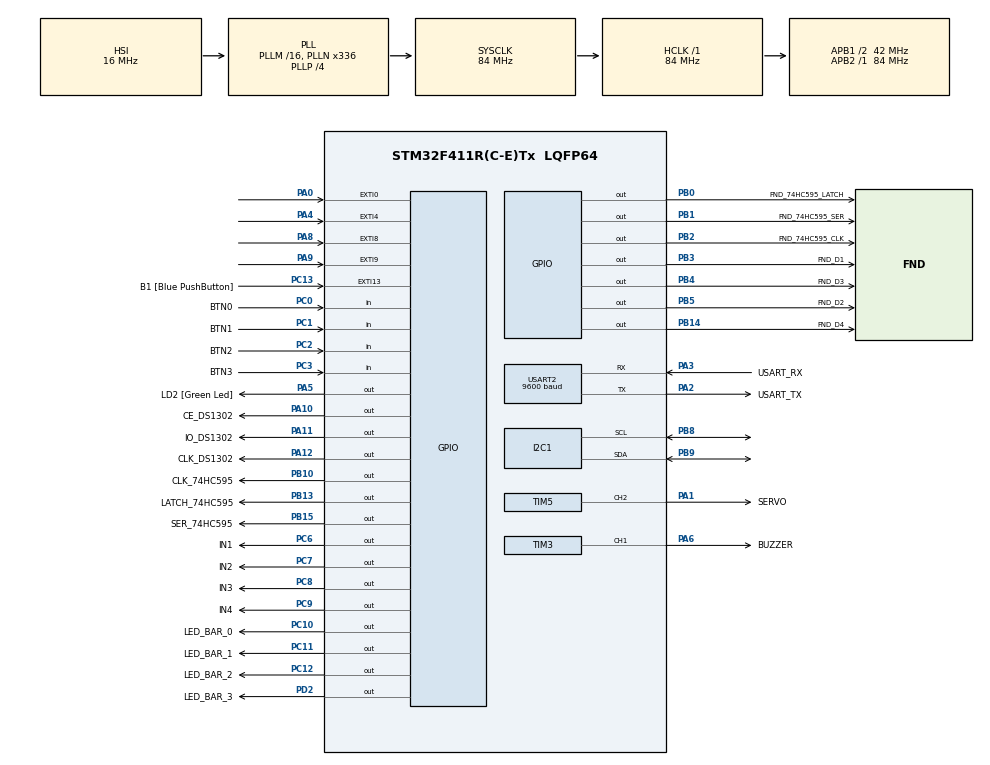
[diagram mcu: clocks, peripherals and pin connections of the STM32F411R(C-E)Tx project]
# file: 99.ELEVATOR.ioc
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FREERTOS.Mutexes01=myMutex01,Dynamic,NULL
FREERTOS.Tasks01=defaultTask,24,128,StartDefaultTask,Default,NULL,Dynamic,NULL,NULL;myTask02,8,128,StartTask02,Default,NULL,Dynamic,NULL,NULL;myTask03,8,128,StartTask03,Default,NULL,Dynamic,NULL,NULL;myTask04,8,128,StartTask04,Default,NULL,Dynamic,NULL,NULL
FREERTOS.configUSE_NEWLIB_REENTRANT=1
Mcu.Family=STM32F4
Mcu.Name=STM32F411R(C-E)Tx
Mcu.Package=LQFP64
NVIC.EXTI0_IRQn=true\:5\:0\:false\:false\:true\:true\:true\:true
NVIC.EXTI4_IRQn=true\:5\:0\:false\:false\:true\:true\:true\:true
NVIC.EXTI9_5_IRQn=true\:5\:0\:false\:false\:true\:true\:true\:true
NVIC.PriorityGroup=NVIC_PRIORITYGROUP_4
NVIC.TIM1_TRG_COM_TIM11_IRQn=true\:5\:0\:false\:false\:true\:true\:true\:true
NVIC.TIM1_UP_TIM10_IRQn=true\:15\:0\:false\:false\:true\:false\:false\:true
NVIC.TIM3_IRQn=true\:5\:0\:false\:false\:true\:true\:true\:true
NVIC.TIM5_IRQn=true\:5\:0\:false\:false\:true\:true\:true\:true
NVIC.TimeBase=TIM1_UP_TIM10_IRQn
NVIC.TimeBaseIP=TIM10
NVIC.USART2_IRQn=true\:5\:0\:false\:false\:true\:true\:true\:true
PA0-WKUP.Signal=GPXTI0
PA1.GPIO_Label=SERVO
PA1.Signal=S_TIM5_CH2
PA10.GPIO_Label=CE_DS1302
PA10.Signal=GPIO_Output
PA11.GPIO_Label=IO_DS1302
PA11.Signal=GPIO_Output
PA12.GPIO_Label=CLK_DS1302
PA12.Signal=GPIO_Output
PA13.GPIO_Label=TMS
PA13.Mode=Serial_Wire
PA13.Signal=SYS_JTMS-SWDIO
PA14.GPIO_Label=TCK
PA14.Mode=Serial_Wire
PA14.Signal=SYS_JTCK-SWCLK
PA2.GPIO_Label=USART_TX
PA2.Mode=Asynchronous
PA2.Signal=USART2_TX
PA3.GPIO_Label=USART_RX
PA3.Mode=Asynchronous
PA3.Signal=USART2_RX
PA4.Signal=GPXTI4
PA5.GPIO_Label=LD2 [Green Led]
PA5.Signal=GPIO_Output
PA6.GPIO_Label=BUZZER
PA6.Signal=S_TIM3_CH1
PA8.Signal=GPXTI8
PA9.Signal=GPXTI9
PB0.GPIO_Label=FND_74HC595_LATCH
PB0.Signal=GPIO_Output
PB1.GPIO_Label=FND_74HC595_SER
PB1.Signal=GPIO_Output
PB10.GPIO_Label=CLK_74HC595
PB10.Signal=GPIO_Output
PB13.GPIO_Label=LATCH_74HC595
PB13.Signal=GPIO_Output
PB14.GPIO_Label=FND_D4
PB14.Signal=GPIO_Output
PB15.GPIO_Label=SER_74HC595
PB15.Signal=GPIO_Output
PB2.GPIO_Label=FND_74HC595_CLK
PB2.Signal=GPIO_Output
PB3.GPIO_Label=FND_D1
PB3.Signal=GPIO_Output
PB4.GPIO_Label=FND_D3
PB4.Signal=GPIO_Output
PB5.GPIO_Label=FND_D2
PB5.Signal=GPIO_Output
PB8.Mode=I2C
PB8.Signal=I2C1_SCL
PB9.Mode=I2C
PB9.Signal=I2C1_SDA
PC0.GPIO_Label=BTN0
PC0.Signal=GPIO_Input
PC1.GPIO_Label=BTN1
PC1.Signal=GPIO_Input
PC10.GPIO_Label=LED_BAR_0
PC10.Signal=GPIO_Output
PC11.GPIO_Label=LED_BAR_1
PC11.Signal=GPIO_Output
PC12.GPIO_Label=LED_BAR_2
PC12.Signal=GPIO_Output
PC13-ANTI_TAMP.GPIO_Label=B1 [Blue PushButton]
PC13-ANTI_TAMP.GPIO_ModeDefaultEXTI=GPIO_MODE_IT_FALLING
PC13-ANTI_TAMP.Signal=GPXTI13
PC14-OSC32_IN.Mode=LSE-External-Oscillator
PC14-OSC32_IN.Signal=RCC_OSC32_IN
PC15-OSC32_OUT.Mode=LSE-External-Oscillator
PC15-OSC32_OUT.Signal=RCC_OSC32_OUT
PC2.GPIO_Label=BTN2
PC2.Signal=GPIO_Input
PC3.GPIO_Label=BTN3
PC3.Signal=GPIO_Input
PC6.GPIO_Label=IN1
PC6.Signal=GPIO_Output
PC7.GPIO_Label=IN2
PC7.Signal=GPIO_Output
PC8.GPIO_Label=IN3
PC8.Signal=GPIO_Output
PC9.GPIO_Label=IN4
PC9.Signal=GPIO_Output
PD2.GPIO_Label=LED_BAR_3
PD2.Signal=GPIO_Output
PH0\ -\ OSC_IN.Mode=HSE-External-Clock-Source
PH0\ -\ OSC_IN.Signal=RCC_OSC_IN
PH1\ -\ OSC_OUT.Mode=HSE-External-Clock-Source
PH1\ -\ OSC_OUT.Signal=RCC_OSC_OUT
ProjectManager.HeapSize=0x200
ProjectManager.StackSize=0x400
ProjectManager.TargetToolchain=STM32CubeIDE
RCC.48MHZClocksFreq_Value=84000000
RCC.AHBFreq_Value=84000000
RCC.APB1CLKDivider=RCC_HCLK_DIV2
RCC.APB1Freq_Value=42000000
RCC.APB1TimFreq_Value=84000000
RCC.APB2Freq_Value=84000000
RCC.APB2TimFreq_Value=84000000
RCC.CortexFreq_Value=84000000
RCC.FLatency-AdvancedSettings=FLASH_LATENCY_2
RCC.HCLKFreq_Value=84000000
RCC.HSE_VALUE=8000000
RCC.HSI_VALUE=16000000
RCC.PLLN=336
RCC.PLLP=RCC_PLLP_DIV4
RCC.SYSCLKFreq_VALUE=84000000
RCC.SYSCLKSource=RCC_SYSCLKSOURCE_PLLCLK
RCC.VCOOutputFreq_Value=336000000
SH.S_TIM3_CH1.0=TIM3_CH1,PWM Generation1 CH1
SH.S_TIM5_CH2.0=TIM5_CH2,PWM Generation2 CH2
TIM11.Period=1000-1
TIM11.Prescaler=84-1
TIM2.Prescaler=84-1
TIM3.Channel-PWM\ Generation1\ CH1=TIM_CHANNEL_1
TIM3.Period=400-1
TIM3.Prescaler=52.5-1
TIM3.Pulse-PWM\ Generation1\ CH1=200-1
TIM5.Channel-PWM\ Generation2\ CH2=TIM_CHANNEL_2
TIM5.Period=1000-1
TIM5.Prescaler=1680-1
USART2.BaudRate=9600
USART2.VirtualMode=VM_ASYNC
VP_FREERTOS_VS_CMSIS_V2.Mode=CMSIS_V2
VP_SYS_VS_tim10.Mode=TIM10
VP_TIM11_VS_ClockSourceINT.Mode=Enable_Timer
VP_TIM2_VS_ClockSourceINT.Mode=Internal
VP_TIM3_VS_ClockSourceINT.Mode=Internal
VP_TIM5_VS_ClockSourceINT.Mode=Internal
board=NUCLEO-F411RE

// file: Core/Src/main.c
/* USER CODE BEGIN Header */
/**
  ******************************************************************************
  * @file           : main.c
  * @brief          : Main program body
  ******************************************************************************
  * @attention
  *
  * <h2><center>&copy; Copyright (c) 2025 STMicroelectronics.
  * All rights reserved.</center></h2>
  *
  * This software component is licensed by ST under BSD 3-Clause license,
  * the "License"; You may not use this file except in compliance with the
  * License. You may obtain a copy of the License at:
  *                        opensource.org/licenses/BSD-3-Clause
  *
  ******************************************************************************
  */
/* USER CODE END Header */
#include "main.h"
#include "cmsis_os.h"

/* USER CODE BEGIN Includes */
#include "extern.h"
/* USER CODE END Includes */

I2C_HandleTypeDef hi2c1;

TIM_HandleTypeDef htim2;
TIM_HandleTypeDef htim3;
TIM_HandleTypeDef htim5;
TIM_HandleTypeDef htim11;

UART_HandleTypeDef huart2;

/* Definitions for defaultTask */
osThreadId_t defaultTaskHandle;
const osThreadAttr_t defaultTask_attributes = {
  .name = "defaultTask",
  .stack_size = 128 * 4,
  .priority = (osPriority_t) osPriorityNormal,
};
/* Definitions for myTask02 */
osThreadId_t myTask02Handle;
const osThreadAttr_t myTask02_attributes = {
  .name = "myTask02",
  .stack_size = 128 * 4,
  .priority = (osPriority_t) osPriorityLow,
};
/* Definitions for myTask03 */
osThreadId_t myTask03Handle;
const osThreadAttr_t myTask03_attributes = {
  .name = "myTask03",
  .stack_size = 128 * 4,
  .priority = (osPriority_t) osPriorityLow,
};
/* Definitions for myTask04 */
osThreadId_t myTask04Handle;
const osThreadAttr_t myTask04_attributes = {
  .name = "myTask04",
  .stack_size = 128 * 4,
  .priority = (osPriority_t) osPriorityLow,
};
/* Definitions for myMutex01 */
osMutexId_t myMutex01Handle;
const osMutexAttr_t myMutex01_attributes = {
  .name = "myMutex01"
};
/* USER CODE BEGIN PV */
uint8_t rx_data;   // uart2 rx byte
volatile int TIM11_1ms_counter = 0;
volatile int FND_update_counter = 0;
volatile int Buzzer_counter = 0;
volatile int Button_counter = 0;
/* USER CODE END PV */

void SystemClock_Config(void);
static void MX_GPIO_Init(void);
static void MX_USART2_UART_Init(void);
static void MX_TIM11_Init(void);
static void MX_TIM2_Init(void);
static void MX_I2C1_Init(void);
static void MX_TIM3_Init(void);
static void MX_TIM5_Init(void);
void StartDefaultTask(void *argument);
void StartTask02(void *argument);
void StartTask03(void *argument);
void StartTask04(void *argument);

/* USER CODE BEGIN 0 */

#ifdef __GNUC__    // Add for printf
/* With GCC, small printf (option LD Linker->Libraries->Small printf
   set to 'Yes') calls __io_putchar() */
#define PUTCHAR_PROTOTYPE int __io_putchar(int ch)
#else
#define PUTCHAR_PROTOTYPE int fputc(int ch, FILE *f)
#endif /* __GNUC__ */
/**
  * @brief  Retargets the C library printf function to the USART.
  * @param  None
  * @retval None
  */
PUTCHAR_PROTOTYPE   // Add for printf
{
  /* Place your implementation of fputc here */
  /* e.g. write a character to the USART3 and Loop until the end of transmission */
  HAL_UART_Transmit(&huart2, (uint8_t *)&ch, 1, 0xFFFF);

  return ch;
}
/* USER CODE END 0 */

int main(void)
{

  /* MCU Configuration--------------------------------------------------------*/

  /* Reset of all peripherals, Initializes the Flash interface and the Systick. */
  HAL_Init();

  /* Configure the system clock */
  SystemClock_Config();

  /* Initialize all configured peripherals */
  MX_GPIO_Init();
  MX_USART2_UART_Init();
  MX_TIM11_Init();
  MX_TIM2_Init();
  MX_I2C1_Init();
  MX_TIM3_Init();
  MX_TIM5_Init();
  /* USER CODE BEGIN 2 */
  init_ds1302_elevator();
  i2c_lcd_init();
  HAL_GPIO_WritePin(GPIOB, GPIO_PIN_10 | GPIO_PIN_13 | GPIO_PIN_15, 0);
  HAL_Delay(5); // DOTMATRIX init

  HAL_UART_Receive_IT(&huart2, &rx_data, 1);
  HAL_TIM_Base_Start_IT(&htim11);
  HAL_TIM_Base_Start_IT(&htim2);   // for make delay_us

//  stepmotor_main();
//  dotmatrix_name_main();
//  dotmatrix_main_test();

// led_main();
// i2c_lcd_main();
// ds1302_main();
// buzzer_main();
// servo_motor_main();

  /* USER CODE END 2 */

  /* Init scheduler */
  osKernelInitialize();
  /* Create the mutex(es) */
  /* creation of myMutex01 */
  myMutex01Handle = osMutexNew(&myMutex01_attributes);

  /* Create the thread(s) */
  /* creation of defaultTask */
  defaultTaskHandle = osThreadNew(StartDefaultTask, NULL, &defaultTask_attributes);

  /* creation of myTask02 */
  myTask02Handle = osThreadNew(StartTask02, NULL, &myTask02_attributes);

  /* creation of myTask03 */
  myTask03Handle = osThreadNew(StartTask03, NULL, &myTask03_attributes);

  /* creation of myTask04 */
  myTask04Handle = osThreadNew(StartTask04, NULL, &myTask04_attributes);

  /* Start scheduler */
  osKernelStart();

  /* We should never get here as control is now taken by the scheduler */
  /* Infinite loop */
  /* USER CODE BEGIN WHILE */
  while (1)
  {
	 //button_led_toggle_test();
    /* USER CODE END WHILE */

  }
}

void SystemClock_Config(void)
{
  RCC_OscInitTypeDef RCC_OscInitStruct = {0};
  RCC_ClkInitTypeDef RCC_ClkInitStruct = {0};

  /** Configure the main internal regulator output voltage
  */
  __HAL_RCC_PWR_CLK_ENABLE();
  __HAL_PWR_VOLTAGESCALING_CONFIG(PWR_REGULATOR_VOLTAGE_SCALE1);
  /** Initializes the RCC Oscillators according to the specified parameters
  * in the RCC_OscInitTypeDef structure.
  */
  RCC_OscInitStruct.OscillatorType = RCC_OSCILLATORTYPE_HSI;
  RCC_OscInitStruct.HSIState = RCC_HSI_ON;
  RCC_OscInitStruct.HSICalibrationValue = RCC_HSICALIBRATION_DEFAULT;
  RCC_OscInitStruct.PLL.PLLState = RCC_PLL_ON;
  RCC_OscInitStruct.PLL.PLLSource = RCC_PLLSOURCE_HSI;
  RCC_OscInitStruct.PLL.PLLM = 16;
  RCC_OscInitStruct.PLL.PLLN = 336;
  RCC_OscInitStruct.PLL.PLLP = RCC_PLLP_DIV4;
  RCC_OscInitStruct.PLL.PLLQ = 4;
  if (HAL_RCC_OscConfig(&RCC_OscInitStruct) != HAL_OK)
  {
    Error_Handler();
  }
  /** Initializes the CPU, AHB and APB buses clocks
  */
  RCC_ClkInitStruct.ClockType = RCC_CLOCKTYPE_HCLK|RCC_CLOCKTYPE_SYSCLK
                              |RCC_CLOCKTYPE_PCLK1|RCC_CLOCKTYPE_PCLK2;
  RCC_ClkInitStruct.SYSCLKSource = RCC_SYSCLKSOURCE_PLLCLK;
  RCC_ClkInitStruct.AHBCLKDivider = RCC_SYSCLK_DIV1;
  RCC_ClkInitStruct.APB1CLKDivider = RCC_HCLK_DIV2;
  RCC_ClkInitStruct.APB2CLKDivider = RCC_HCLK_DIV1;

  if (HAL_RCC_ClockConfig(&RCC_ClkInitStruct, FLASH_LATENCY_2) != HAL_OK)
  {
    Error_Handler();
  }
}

static void MX_I2C1_Init(void)
{

  hi2c1.Instance = I2C1;
  hi2c1.Init.ClockSpeed = 100000;
  hi2c1.Init.DutyCycle = I2C_DUTYCYCLE_2;
  hi2c1.Init.OwnAddress1 = 0;
  hi2c1.Init.AddressingMode = I2C_ADDRESSINGMODE_7BIT;
  hi2c1.Init.DualAddressMode = I2C_DUALADDRESS_DISABLE;
  hi2c1.Init.OwnAddress2 = 0;
  hi2c1.Init.GeneralCallMode = I2C_GENERALCALL_DISABLE;
  hi2c1.Init.NoStretchMode = I2C_NOSTRETCH_DISABLE;
  if (HAL_I2C_Init(&hi2c1) != HAL_OK)
  {
    Error_Handler();
  }

}

static void MX_TIM2_Init(void)
{

  TIM_ClockConfigTypeDef sClockSourceConfig = {0};
  TIM_MasterConfigTypeDef sMasterConfig = {0};

  htim2.Instance = TIM2;
  htim2.Init.Prescaler = 84-1;
  htim2.Init.CounterMode = TIM_COUNTERMODE_UP;
  htim2.Init.Period = 4294967295;
  htim2.Init.ClockDivision = TIM_CLOCKDIVISION_DIV1;
  htim2.Init.AutoReloadPreload = TIM_AUTORELOAD_PRELOAD_DISABLE;
  if (HAL_TIM_Base_Init(&htim2) != HAL_OK)
  {
    Error_Handler();
  }
  sClockSourceConfig.ClockSource = TIM_CLOCKSOURCE_INTERNAL;
  if (HAL_TIM_ConfigClockSource(&htim2, &sClockSourceConfig) != HAL_OK)
  {
    Error_Handler();
  }
  sMasterConfig.MasterOutputTrigger = TIM_TRGO_RESET;
  sMasterConfig.MasterSlaveMode = TIM_MASTERSLAVEMODE_DISABLE;
  if (HAL_TIMEx_MasterConfigSynchronization(&htim2, &sMasterConfig) != HAL_OK)
  {
    Error_Handler();
  }

}

static void MX_TIM3_Init(void)
{

  TIM_ClockConfigTypeDef sClockSourceConfig = {0};
  TIM_MasterConfigTypeDef sMasterConfig = {0};
  TIM_OC_InitTypeDef sConfigOC = {0};

  htim3.Instance = TIM3;
  htim3.Init.Prescaler = 52.5-1;
  htim3.Init.CounterMode = TIM_COUNTERMODE_UP;
  htim3.Init.Period = 400-1;
  htim3.Init.ClockDivision = TIM_CLOCKDIVISION_DIV1;
  htim3.Init.AutoReloadPreload = TIM_AUTORELOAD_PRELOAD_DISABLE;
  if (HAL_TIM_Base_Init(&htim3) != HAL_OK)
  {
    Error_Handler();
  }
  sClockSourceConfig.ClockSource = TIM_CLOCKSOURCE_INTERNAL;
  if (HAL_TIM_ConfigClockSource(&htim3, &sClockSourceConfig) != HAL_OK)
  {
    Error_Handler();
  }
  if (HAL_TIM_PWM_Init(&htim3) != HAL_OK)
  {
    Error_Handler();
  }
  sMasterConfig.MasterOutputTrigger = TIM_TRGO_RESET;
  sMasterConfig.MasterSlaveMode = TIM_MASTERSLAVEMODE_DISABLE;
  if (HAL_TIMEx_MasterConfigSynchronization(&htim3, &sMasterConfig) != HAL_OK)
  {
    Error_Handler();
  }
  sConfigOC.OCMode = TIM_OCMODE_PWM1;
  sConfigOC.Pulse = 200-1;
  sConfigOC.OCPolarity = TIM_OCPOLARITY_HIGH;
  sConfigOC.OCFastMode = TIM_OCFAST_DISABLE;
  if (HAL_TIM_PWM_ConfigChannel(&htim3, &sConfigOC, TIM_CHANNEL_1) != HAL_OK)
  {
    Error_Handler();
  }
  HAL_TIM_MspPostInit(&htim3);

}

static void MX_TIM5_Init(void)
{

  TIM_ClockConfigTypeDef sClockSourceConfig = {0};
  TIM_MasterConfigTypeDef sMasterConfig = {0};
  TIM_OC_InitTypeDef sConfigOC = {0};

  htim5.Instance = TIM5;
  htim5.Init.Prescaler = 1680-1;
  htim5.Init.CounterMode = TIM_COUNTERMODE_UP;
  htim5.Init.Period = 1000-1;
  htim5.Init.ClockDivision = TIM_CLOCKDIVISION_DIV1;
  htim5.Init.AutoReloadPreload = TIM_AUTORELOAD_PRELOAD_DISABLE;
  if (HAL_TIM_Base_Init(&htim5) != HAL_OK)
  {
    Error_Handler();
  }
  sClockSourceConfig.ClockSource = TIM_CLOCKSOURCE_INTERNAL;
  if (HAL_TIM_ConfigClockSource(&htim5, &sClockSourceConfig) != HAL_OK)
  {
    Error_Handler();
  }
  if (HAL_TIM_PWM_Init(&htim5) != HAL_OK)
  {
    Error_Handler();
  }
  sMasterConfig.MasterOutputTrigger = TIM_TRGO_RESET;
  sMasterConfig.MasterSlaveMode = TIM_MASTERSLAVEMODE_DISABLE;
  if (HAL_TIMEx_MasterConfigSynchronization(&htim5, &sMasterConfig) != HAL_OK)
  {
    Error_Handler();
  }
  sConfigOC.OCMode = TIM_OCMODE_PWM1;
  sConfigOC.Pulse = 0;
  sConfigOC.OCPolarity = TIM_OCPOLARITY_HIGH;
  sConfigOC.OCFastMode = TIM_OCFAST_DISABLE;
  if (HAL_TIM_PWM_ConfigChannel(&htim5, &sConfigOC, TIM_CHANNEL_2) != HAL_OK)
  {
    Error_Handler();
  }
  HAL_TIM_MspPostInit(&htim5);

}

static void MX_TIM11_Init(void)
{

  htim11.Instance = TIM11;
  htim11.Init.Prescaler = 84-1;
  htim11.Init.CounterMode = TIM_COUNTERMODE_UP;
  htim11.Init.Period = 1000-1;
  htim11.Init.ClockDivision = TIM_CLOCKDIVISION_DIV1;
  htim11.Init.AutoReloadPreload = TIM_AUTORELOAD_PRELOAD_DISABLE;
  if (HAL_TIM_Base_Init(&htim11) != HAL_OK)
  {
    Error_Handler();
  }

}

static void MX_USART2_UART_Init(void)
{

  huart2.Instance = USART2;
  huart2.Init.BaudRate = 9600;
  huart2.Init.WordLength = UART_WORDLENGTH_8B;
  huart2.Init.StopBits = UART_STOPBITS_1;
  huart2.Init.Parity = UART_PARITY_NONE;
  huart2.Init.Mode = UART_MODE_TX_RX;
  huart2.Init.HwFlowCtl = UART_HWCONTROL_NONE;
  huart2.Init.OverSampling = UART_OVERSAMPLING_16;
  if (HAL_UART_Init(&huart2) != HAL_OK)
  {
    Error_Handler();
  }

}

static void MX_GPIO_Init(void)
{
  GPIO_InitTypeDef GPIO_InitStruct = {0};

  /* GPIO Ports Clock Enable */
  __HAL_RCC_GPIOC_CLK_ENABLE();
  __HAL_RCC_GPIOH_CLK_ENABLE();
  __HAL_RCC_GPIOA_CLK_ENABLE();
  __HAL_RCC_GPIOB_CLK_ENABLE();
  __HAL_RCC_GPIOD_CLK_ENABLE();

  /*Configure GPIO pin Output Level */
  HAL_GPIO_WritePin(GPIOA, LD2_Pin|CE_DS1302_Pin|IO_DS1302_Pin|CLK_DS1302_Pin, GPIO_PIN_RESET);

  /*Configure GPIO pin Output Level */
  HAL_GPIO_WritePin(GPIOB, FND_74HC595_LATCH_Pin|FND_74HC595_SER_Pin|FND_74HC595_CLK_Pin|CLK_74HC595_Pin
                          |LATCH_74HC595_Pin|FND_D4_Pin|SER_74HC595_Pin|FND_D1_Pin
                          |FND_D3_Pin|FND_D2_Pin, GPIO_PIN_RESET);

  /*Configure GPIO pin Output Level */
  HAL_GPIO_WritePin(GPIOC, IN1_Pin|IN2_Pin|IN3_Pin|IN4_Pin
                          |LED_BAR_0_Pin|LED_BAR_1_Pin|LED_BAR_2_Pin, GPIO_PIN_RESET);

  /*Configure GPIO pin Output Level */
  HAL_GPIO_WritePin(LED_BAR_3_GPIO_Port, LED_BAR_3_Pin, GPIO_PIN_RESET);

  /*Configure GPIO pin : B1_Pin */
  GPIO_InitStruct.Pin = B1_Pin;
  GPIO_InitStruct.Mode = GPIO_MODE_IT_FALLING;
  GPIO_InitStruct.Pull = GPIO_NOPULL;
  HAL_GPIO_Init(B1_GPIO_Port, &GPIO_InitStruct);

  /*Configure GPIO pins : BTN0_Pin BTN1_Pin BTN2_Pin BTN3_Pin */
  GPIO_InitStruct.Pin = BTN0_Pin|BTN1_Pin|BTN2_Pin|BTN3_Pin;
  GPIO_InitStruct.Mode = GPIO_MODE_INPUT;
  GPIO_InitStruct.Pull = GPIO_NOPULL;
  HAL_GPIO_Init(GPIOC, &GPIO_InitStruct);

  /*Configure GPIO pins : PA0 PA4 PA8 PA9 */
  GPIO_InitStruct.Pin = GPIO_PIN_0|GPIO_PIN_4|GPIO_PIN_8|GPIO_PIN_9;
  GPIO_InitStruct.Mode = GPIO_MODE_IT_RISING;
  GPIO_InitStruct.Pull = GPIO_NOPULL;
  HAL_GPIO_Init(GPIOA, &GPIO_InitStruct);

  /*Configure GPIO pins : LD2_Pin CE_DS1302_Pin IO_DS1302_Pin CLK_DS1302_Pin */
  GPIO_InitStruct.Pin = LD2_Pin|CE_DS1302_Pin|IO_DS1302_Pin|CLK_DS1302_Pin;
  GPIO_InitStruct.Mode = GPIO_MODE_OUTPUT_PP;
  GPIO_InitStruct.Pull = GPIO_NOPULL;
  GPIO_InitStruct.Speed = GPIO_SPEED_FREQ_LOW;
  HAL_GPIO_Init(GPIOA, &GPIO_InitStruct);

  /*Configure GPIO pins : FND_74HC595_LATCH_Pin FND_74HC595_SER_Pin FND_74HC595_CLK_Pin CLK_74HC595_Pin
                           LATCH_74HC595_Pin FND_D4_Pin SER_74HC595_Pin FND_D1_Pin
                           FND_D3_Pin FND_D2_Pin */
  GPIO_InitStruct.Pin = FND_74HC595_LATCH_Pin|FND_74HC595_SER_Pin|FND_74HC595_CLK_Pin|CLK_74HC595_Pin
                          |LATCH_74HC595_Pin|FND_D4_Pin|SER_74HC595_Pin|FND_D1_Pin
                          |FND_D3_Pin|FND_D2_Pin;
  GPIO_InitStruct.Mode = GPIO_MODE_OUTPUT_PP;
  GPIO_InitStruct.Pull = GPIO_NOPULL;
  GPIO_InitStruct.Speed = GPIO_SPEED_FREQ_LOW;
  HAL_GPIO_Init(GPIOB, &GPIO_InitStruct);

  /*Configure GPIO pins : IN1_Pin IN2_Pin IN3_Pin IN4_Pin
                           LED_BAR_0_Pin LED_BAR_1_Pin LED_BAR_2_Pin */
  GPIO_InitStruct.Pin = IN1_Pin|IN2_Pin|IN3_Pin|IN4_Pin
                          |LED_BAR_0_Pin|LED_BAR_1_Pin|LED_BAR_2_Pin;
  GPIO_InitStruct.Mode = GPIO_MODE_OUTPUT_PP;
  GPIO_InitStruct.Pull = GPIO_NOPULL;
  GPIO_InitStruct.Speed = GPIO_SPEED_FREQ_LOW;
  HAL_GPIO_Init(GPIOC, &GPIO_InitStruct);

  /*Configure GPIO pin : LED_BAR_3_Pin */
  GPIO_InitStruct.Pin = LED_BAR_3_Pin;
  GPIO_InitStruct.Mode = GPIO_MODE_OUTPUT_PP;
  GPIO_InitStruct.Pull = GPIO_NOPULL;
  GPIO_InitStruct.Speed = GPIO_SPEED_FREQ_LOW;
  HAL_GPIO_Init(LED_BAR_3_GPIO_Port, &GPIO_InitStruct);

  /* EXTI interrupt init*/
  HAL_NVIC_SetPriority(EXTI0_IRQn, 5, 0);
  HAL_NVIC_EnableIRQ(EXTI0_IRQn);

  HAL_NVIC_SetPriority(EXTI4_IRQn, 5, 0);
  HAL_NVIC_EnableIRQ(EXTI4_IRQn);

  HAL_NVIC_SetPriority(EXTI9_5_IRQn, 5, 0);
  HAL_NVIC_EnableIRQ(EXTI9_5_IRQn);

}

void StartDefaultTask(void *argument)
{
  /* USER CODE BEGIN 5 */
  /* Infinite loop */
  for(;;)
  {
		if(osMutexWait(myMutex01Handle, 1000) == osOK) // lock key
		{
			 display_elevator();
			 osMutexRelease(myMutex01Handle);	// unlock
		}
		osDelay(1000);
  }

  /* USER CODE END 5 */
}

void StartTask02(void *argument)
{
  /* USER CODE BEGIN StartTask02 */
  /* Infinite loop */
  for(;;)
  {
	elevator_dotmatrix_main();
	elevator_main();
	fnd_elevator_display();
    osDelay(1);
  }
  /* USER CODE END StartTask02 */
}

void StartTask03(void *argument)
{
  /* USER CODE BEGIN StartTask03 */
  /* Infinite loop */
  for(;;)
  {
	stepmotor_main();
	led_elevator();
	osDelay(1);
  }
  /* USER CODE END StartTask03 */
}

void StartTask04(void *argument)
{
  /* USER CODE BEGIN StartTask04 */
  /* Infinite loop */
  for(;;)
  {
	elavator_buzzer();
    osDelay(1);
  }
  /* USER CODE END StartTask04 */
}

void HAL_TIM_PeriodElapsedCallback(TIM_HandleTypeDef *htim)
{
  if (htim->Instance == TIM10) {
    HAL_IncTick();
  }
  /* USER CODE BEGIN Callback 1 */
  if (htim->Instance == TIM11) {
	  TIM11_1ms_counter++;
	  FND_update_counter++;
	  Buzzer_counter++;
	  Button_counter++;;
  }
  /* USER CODE END Callback 1 */
}

void Error_Handler(void)
{
  __disable_irq();
  while (1)
  {
  }
}

/************************ (C) COPYRIGHT STMicroelectronics *****END OF FILE****/
